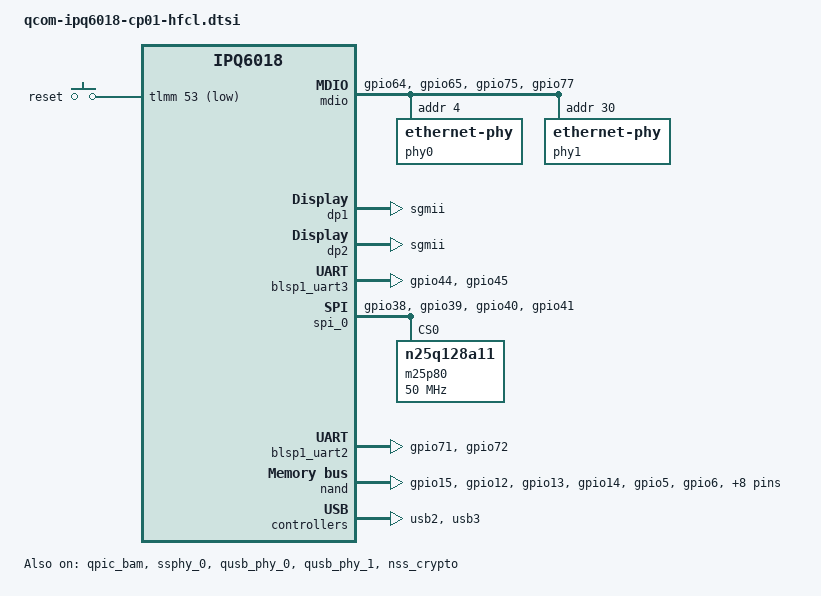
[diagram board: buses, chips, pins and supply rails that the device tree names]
/*
 * Copyright (c) 2019, The Linux Foundation. All rights reserved.
 *
 * Permission to use, copy, modify, and/or distribute this software for any
 * purpose with or without fee is hereby granted, provided that the above
 * copyright notice and this permission notice appear in all copies.
 *
 * THE SOFTWARE IS PROVIDED "AS IS" AND THE AUTHOR DISCLAIMS ALL WARRANTIES
 * WITH REGARD TO THIS SOFTWARE INCLUDING ALL IMPLIED WARRANTIES OF
 * MERCHANTABILITY AND FITNESS. IN NO EVENT SHALL THE AUTHOR BE LIABLE FOR
 * ANY SPECIAL, DIRECT, INDIRECT, OR CONSEQUENTIAL DAMAGES OR ANY DAMAGES
 * WHATSOEVER RESULTING FROM LOSS OF USE, DATA OR PROFITS, WHETHER IN AN
 * ACTION OF CONTRACT, NEGLIGENCE OR OTHER TORTIOUS ACTION, ARISING OUT OF
 * OR IN CONNECTION WITH THE USE OR PERFORMANCE OF THIS SOFTWARE.
 */

#include "qcom-ipq6018.dtsi"
#include <dt-bindings/input/input.h>
#include <dt-bindings/gpio/gpio.h>

/ {
	#address-cells = <0x2>;
	#size-cells = <0x2>;
	compatible = "qcom,ipq6018-cp01", "qcom,ipq6018";
	interrupt-parent = <&intc>;
	qcom,msm-id = <0x192 0x0>, <0x193 0x0>;

	aliases {
		serial0 = &blsp1_uart3;
		serial1 = &blsp1_uart2;
		sdhc2 = &sdhc_2;
		/*
		 * Aliases as required by u-boot
		 * to patch MAC addresses
		 */
		ethernet0 = "/soc/dp1";
		ethernet1 = "/soc/dp2";
	};

	chosen {
		bootargs = "console=ttyMSM0,115200,n8 rw init=/init";
#ifdef __IPQ_MEM_PROFILE_256_MB__
		bootargs-append = " swiotlb=1";
#else
		bootargs-append = " swiotlb=1 coherent_pool=2M";
#endif
	};

};

&tlmm {
	pinctrl-0 = <&sd_ldo_pins &hfcl_gpio>;
	pinctrl-names = "default";

	uart_pins: uart_pins {
		mux {
			pins = "gpio44", "gpio45";
			function = "blsp2_uart";
			drive-strength = <8>;
			bias-pull-down;
		};
	};

	sd_ldo_pins: sd_ldo_pins {
		mux {
			pins = "gpio66";
			function = "gpio";
			drive-strength = <2>;
			bias-disable;
			output-low;
		};
	};

	spi_0_pins: spi_0_pins {
		mux {
			pins = "gpio38", "gpio39", "gpio40", "gpio41";
			function = "blsp0_spi";
			drive-strength = <8>;
			bias-pull-down;
		};
	};

	qpic_pins: qpic_pins {
		data_0 {
			pins = "gpio15";
			function = "qpic_pad0";
			drive-strength = <8>;
			bias-pull-down;
		};
		data_1 {
			pins = "gpio12";
			function = "qpic_pad1";
			drive-strength = <8>;
			bias-pull-down;
		};
		data_2 {
			pins = "gpio13";
			function = "qpic_pad2";
			drive-strength = <8>;
			bias-pull-down;
		};
		data_3 {
			pins = "gpio14";
			function = "qpic_pad3";
			drive-strength = <8>;
			bias-pull-down;
		};
		data_4 {
			pins = "gpio5";
			function = "qpic_pad4";
			drive-strength = <8>;
			bias-pull-down;
		};
		data_5 {
			pins = "gpio6";
			function = "qpic_pad5";
			drive-strength = <8>;
			bias-pull-down;
		};
		data_6 {
			pins = "gpio7";
			function = "qpic_pad6";
			drive-strength = <8>;
			bias-pull-down;
		};
		data_7 {
			pins = "gpio8";
			function = "qpic_pad7";
			drive-strength = <8>;
			bias-pull-down;
		};
		qpic_pad {
			pins = "gpio1", "gpio3", "gpio4",
			       "gpio10", "gpio11", "gpio17";
			function = "qpic_pad";
			drive-strength = <8>;
			bias-pull-down;
		};
	};

	sd_pins: sd_pins {
		mux {
			pins = "gpio62";
			function = "sd_card";
			drive-strength = <8>;
			bias-pull-up;
		};
	};

	extcon_usb_pins: extcon_usb_pins {
		mux {
			pins = "gpio26";
			function = "gpio";
			drive-strength = <2>;
			bias-pull-down;
		};
	};

	button_pins: button_pins {
		reset_button {
			pins = "gpio53";
			function = "gpio";
			drive-strength = <8>;
			bias-pull-up;
		};
	};

	mdio_pins: mdio_pinmux {
		mux_0 {
			pins = "gpio64";
			function = "mdc";
			drive-strength = <8>;
			bias-pull-up;
		};
		mux_1 {
			pins = "gpio65";
			function = "mdio";
			drive-strength = <8>;
			bias-pull-up;
		};
		mux_2 {
			pins = "gpio75";
			function = "gpio";
			bias-pull-up;
		};
		mux_3 {
			pins = "gpio77";
			function = "gpio";
			bias-pull-up;
		};
	};

	leds_pins: leds_pins {
		led_5g {
			pins = "gpio60";
			function = "gpio";
			drive-strength = <8>;
			bias-pull-down;
		};
		led_2g {
			pins = "gpio61";
			function = "gpio";
			drive-strength = <8>;
			bias-pull-down;
		};
	};

        hfcl_gpio: hfcl_gpio {
                mux_0 {
                        pins = "gpio25";
                        function = "gpio";
                        drive-strength = <8>;
                        output-low;
                };
                mux_1 {
                        pins = "gpio29";
                        function = "gpio";
                        drive-strength = <8>;
                        bias-pull-down;
                };
                mux_2 {
                        pins = "gpio33";
                        function = "gpio";
                        drive-strength = <8>;
                        bias-pull-down;
                };
                mux_3 {
                        pins = "gpio34";
                        function = "gpio";
                        drive-strength = <8>;
                        bias-pull-down;
                };
                mux_4 {
                        pins = "gpio35";
                        function = "gpio";
                        drive-strength = <8>;
                        bias-pull-down;
                };
                mux_5 {
                        pins = "gpio59";
                        function = "gpio";
                        drive-strength = <8>;
                        bias-pull-down;
                };
                mux_6 {
                        pins = "gpio67";
                        function = "gpio";
                        drive-strength = <8>;
                        bias-pull-down;
                };
                mux_7 {
                        pins = "gpio70";
                        function = "gpio";
                        drive-strength = <8>;
                        bias-pull-down;
                };
                mux_8 {
                        pins = "gpio79";
                        function = "gpio";
                        drive-strength = <8>;
                        bias-pull-down;
                };
        };

	uniphy_pins: uniphy_pinmux {
                mux {
                        pins = "gpio63";
                        function = "rx0";
                        bias-disable;
                };
                sfp_tx {
                        pins = "gpio48";
                        function = "gpio";
                        driver-strength = <8>;
                        bias-pull-down;
                        output-low;
                        };
                };

        hsuart_pins: hsuart_pins {
                mux {
                        pins = "gpio71", "gpio72";
                        function = "blsp1_uart";
                        drive-strength = <8>;
                        bias-disable;
                };
        };

};

&soc {
	extcon_usb: extcon_usb {
		pinctrl-0 = <&extcon_usb_pins>;
		pinctrl-names = "default";
		id-gpio = <&tlmm 26 GPIO_ACTIVE_LOW>;
		status = "disabled";
	};

        mdio: mdio@90000 {
                pinctrl-0 = <&mdio_pins>;
                pinctrl-names = "default";
                phy-reset-gpio = <&tlmm 77 0>;
                status = "ok";
                phy0: ethernet-phy@0 {
                        reg = <4>;
                };
                phy1: ethernet-phy@1 {
                        reg = <30>;
                };
        };

        dp1 {
                device_type = "network";
                compatible = "qcom,nss-dp";
                qcom,id = <4>;
                reg = <0x3a001600 0x200>;
                qcom,mactype = <0>;
                local-mac-address = [000000000000];
                qcom,link-poll = <1>;
                qcom,phy-mdio-addr = <4>;
                phy-mode = "sgmii";
        };

        dp2 {
                device_type = "network";
                compatible = "qcom,nss-dp";
                qcom,id = <5>;
                reg = <0x3a003000 0x3fff>;
                qcom,mactype = <1>;
                local-mac-address = [000000000000];
                qcom,link-poll = <1>;
                qcom,phy-mdio-addr = <30>;
                phy-mode = "sgmii";
        };

        nss-macsec1 {
                compatible = "qcom,nss-macsec";
                phy_addr = <30>;
                phy_access_mode = <0>;
                mdiobus = <&mdio>;
        };

        ess-switch@3a000000 {
                pinctrl-0 = <&uniphy_pins>;
                pinctrl-names = "default";
                switch_cpu_bmp = <0x1>;  /* cpu port bitmap */
                switch_lan_bmp = <0x10>; /* lan port bitmap */
                switch_wan_bmp = <0x20>; /* wan port bitmap */
                switch_inner_bmp = <0xc0>; /*inner port bitmap*/
                switch_mac_mode = <0xf>; /* mac mode for uniphy instance0*/
                switch_mac_mode1 = <0x14>; /* mac mode for uniphy instance1*/
                switch_mac_mode2 = <0xff>; /* mac mode for uniphy instance2*/
                qcom,port_phyinfo {
                        port@0 {
                                port_id = <4>;
                                phy_address = <4>;
                        };
                        port@2 {
                                port_id = <5>;
                                phy_address = <30>;
                                phy_i2c_address = <30>;
                                phy-i2c-mode;
				port_mac_sel = "GMAC_PORT";
                        };
                };
        };

        gpio_keys {
                compatible = "gpio-keys";
                pinctrl-0 = <&button_pins>;
                pinctrl-names = "default";

                reset {
                        label = "reset";
                        linux,code = <KEY_RESTART>;
                        gpios = <&tlmm 53 GPIO_ACTIVE_LOW>;
                        linux,input-type = <1>;
                        debounce-interval = <60>;
                };
        };

	i2c_2: i2c@78b9000 {
		compatible = "qcom,i2c-qup-v2.2.1";
		#address-cells = <1>;
		#size-cells = <0>;
		reg = <0x78b9000 0x600>;
		interrupts = <GIC_SPI 299 IRQ_TYPE_LEVEL_HIGH>;
		clocks = <&gcc GCC_BLSP1_AHB_CLK>,
			 <&gcc GCC_BLSP1_QUP5_I2C_APPS_CLK>;
		clock-names = "iface", "core";
		clock-frequency  = <400000>;
		dmas = <&blsp_dma 21>, <&blsp_dma 20>;
		dma-names = "rx", "tx";
		status = "disabled";
	};
};

&blsp1_uart3 {
	pinctrl-0 = <&uart_pins>;
	pinctrl-names = "default";
	status = "ok";
};

&spi_0 {
	pinctrl-0 = <&spi_0_pins>;
	pinctrl-names = "default";
	cs-select = <0>;
	status = "ok";

	m25p80@0 {
		#address-cells = <1>;
		#size-cells = <1>;
		reg = <0>;
		compatible = "n25q128a11";
		linux,modalias = "m25p80", "n25q128a11";
		spi-max-frequency = <50000000>;
		use-default-sizes;
	};
};

&blsp1_uart2 {
        pinctrl-0 = <&hsuart_pins>;
        pinctrl-names = "default";
        dmas = <&blsp_dma 2>,
                <&blsp_dma 3>;
        dma-names = "tx", "rx";
        status = "ok";
};

&qpic_bam {
	status = "ok";
};

&nand {
	pinctrl-0 = <&qpic_pins>;
	pinctrl-names = "default";
	status = "ok";
};

&ssphy_0 {
	status = "ok";
};

&qusb_phy_0 {
	status = "ok";
};

&qusb_phy_1 {
	status = "ok";
};

&usb2 {
	status = "ok";
};

&usb3 {
	status = "ok";
};

&nss_crypto {
	status = "ok";
};

&pcie_phy {
	status = "disabled";
};

&pcie0 {
	status = "disabled";
};

&qpic_lcd {
	status = "disabled";
};

&qpic_lcd_panel {
	status = "disabled";
};
